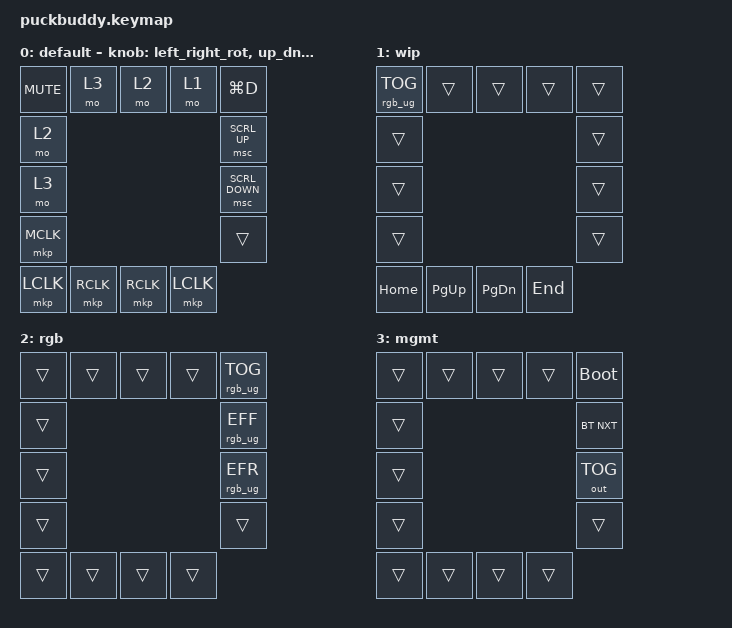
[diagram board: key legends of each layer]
/*
 * Copyright (c) 2024 The ZMK Contributors
 *
 * SPDX-License-Identifier: MIT
 */

#include <behaviors.dtsi>
#include <dt-bindings/zmk/keys.h>
#include <dt-bindings/zmk/bt.h>
#include <dt-bindings/zmk/ext_power.h>
#include <dt-bindings/zmk/rgb.h>
#include <dt-bindings/zmk/outputs.h>
#include <dt-bindings/zmk/mouse.h>

/*/delete-node/ &sensors;*/

/ {
    behaviors {
        up_dn_rot: encoder_rotation_0 {
            compatible = "zmk,behavior-sensor-rotate";
            #sensor-binding-cells = <0>;
            bindings = <&mmv MOVE_UP>, <&mmv MOVE_DOWN>;
        };

        left_right_rot: encoder_rotation_1 {
            compatible = "zmk,behavior-sensor-rotate";
            #sensor-binding-cells = <0>;
            bindings = <&mmv MOVE_LEFT>, <&mmv MOVE_RIGHT>;
        };
    };

    keymap {
        compatible = "zmk,keymap";

        default_layer {
            display-name = "default";
            bindings = <
                &kp C_MUTE  &mo 3      &mo 2      &mo 1      &kp LG(D)
                &mo 2                                        &msc SCRL_UP
                &mo 3                                        &msc SCRL_DOWN
                &mkp MCLK                                    &trans
                &mkp LCLK   &mkp RCLK  &mkp RCLK  &mkp LCLK
            >;
            sensor-bindings =<
                &left_right_rot
                &up_dn_rot
            >;
        };

        adjust_layer {
            display-name = "wip";
            bindings = <
                &rgb_ug RGB_TOG  &trans     &trans     &trans  &trans
                &trans                                         &trans
                &trans                                         &trans
                &trans                                         &trans
                &kp HOME         &kp PG_UP  &kp PG_DN  &kp END
            >;
        };

        rgb_layer {
            display-name = "rgb";
            bindings = <
                &trans  &trans  &trans  &trans  &rgb_ug RGB_TOG
                &trans                          &rgb_ug RGB_EFF
                &trans                          &rgb_ug RGB_EFR
                &trans                          &trans
                &trans  &trans  &trans  &trans
            >;
        };

        mgmt_layer {
            display-name = "mgmt";
            bindings = <
                &trans  &trans  &trans  &trans  &bootloader
                &trans                          &bt BT_NXT
                &trans                          &out OUT_TOG
                &trans                          &trans
                &trans  &trans  &trans  &trans
            >;
        };
    };
};
